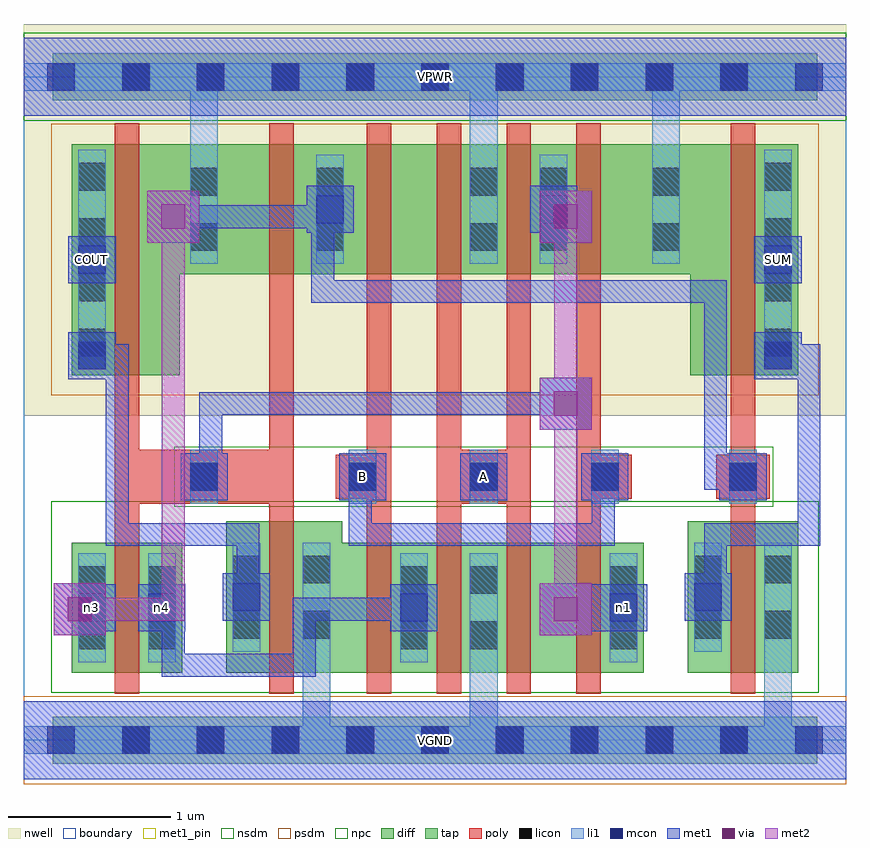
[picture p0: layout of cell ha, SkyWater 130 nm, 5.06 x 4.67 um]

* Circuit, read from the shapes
.subckt ha A B COUT SUM VGND VPWR n1 n3 n4
XM1 n4 n1 n3 VGND sky130_fd_pr__nfet_01v8 w=0.8 l=0.15
XM2 VGND n1 COUT VGND sky130_fd_pr__nfet_01v8 w=0.93 l=0.15
XM3 n4 B VGND VGND sky130_fd_pr__nfet_01v8 w=0.8 l=0.15
XM4 VGND A n4 VGND sky130_fd_pr__nfet_01v8 w=0.8 l=0.15
XM5 n2 A VGND VGND sky130_fd_pr__nfet_01v8 w=0.8 l=0.15
XM6 n1 B n2 VGND sky130_fd_pr__nfet_01v8 w=0.8 l=0.15
XM7 VGND n3 SUM VGND sky130_fd_pr__nfet_01v8 w=0.93 l=0.15
XM8 VPWR n1 COUT VPWR sky130_fd_pr__pfet_01v8 w=1.42 l=0.15
XM9 n3 n1 VPWR VPWR sky130_fd_pr__pfet_01v8 w=0.8 l=0.15
XM10 n5 B n3 VPWR sky130_fd_pr__pfet_01v8 w=0.8 l=0.15
XM11 VPWR A n5 VPWR sky130_fd_pr__pfet_01v8 w=0.8 l=0.15
XM12 n1 A VPWR VPWR sky130_fd_pr__pfet_01v8 w=0.8 l=0.15
XM13 VPWR B n1 VPWR sky130_fd_pr__pfet_01v8 w=0.8 l=0.15
XM14 SUM n3 VPWR VPWR sky130_fd_pr__pfet_01v8 w=1.42 l=0.15
.ends

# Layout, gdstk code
import gdstk
lib = gdstk.Library(unit=1e-6, precision=1e-09)
def R(c, l, rs):  # rectangles x0, y0, x1, y1
    for r in rs: c.add(gdstk.rectangle(r[:2], r[2:], *l))
def A(c, l, x, y, w, h, nx, ny, dx, dy):  # array of equal rectangles
    R(c, l, [(x+i*dx, y+j*dy, x+i*dx+w, y+j*dy+h) for i in range(nx) for j in range(ny)])
nwell = (64, 20)
diff = (65, 20)
tap = (65, 44)
poly = (66, 20)
licon = (66, 44)
li1 = (67, 20)
mcon = (67, 44)
met1_pin = (68, 16)
met1 = (68, 20)
via = (68, 44)
met2 = (69, 20)
nsdm = (93, 44)
psdm = (94, 20)
npc = (95, 20)
boundary = (235, 4)

c_ha = lib.new_cell('ha')
R(c_ha, nwell, [(0,1.995,5.06,4.405)])
R(c_ha, diff, [(0.295,0.415,0.975,1.215), (1.245,0.415,3.815,1.215), (1.245,0.415,1.96,1.345), (4.085,0.415,4.765,1.345), (0.295,2.245,0.96,3.665), (4.1,2.245,4.765,3.665), (0.295,2.865,4.765,3.665)])
R(c_ha, tap, [(0.18,-0.145,4.88,0.145), (0.18,3.935,4.88,4.225)])
A(c_ha, poly, 2.11, 0.285, 0.15, 3.51, 4, 1, 0.43, 0)
R(c_ha, poly, [(0.56,0.285,0.71,3.795), (1.51,0.285,1.66,3.795), (4.35,0.285,4.5,3.795), (0.56,1.455,1.66,1.785), (2.54,1.455,3.12,1.785), (1.92,1.485,2.25,1.755), (3.41,1.485,3.74,1.755), (4.26,1.485,4.59,1.755)])
A(c_ha, licon, 0.605, -0.085, 0.17, 0.17, 9, 2, 0.46, 4.08)
A(c_ha, licon, 2, 1.535, 0.17, 0.17, 3, 1, 0.745, 0)
A(c_ha, licon, 0.335, 2.36, 0.17, 0.17, 1, 4, 0, 0.34)
A(c_ha, licon, 4.555, 2.36, 0.17, 0.17, 1, 4, 0, 0.34)
R(c_ha, licon, [(0.335,0.56,0.505,0.73), (0.765,0.56,0.935,0.73), (2.315,0.56,2.485,0.73), (2.745,0.56,2.915,0.73), (3.605,0.56,3.775,0.73), (1.285,0.625,1.455,0.795), (1.715,0.625,1.885,0.795), (4.125,0.625,4.295,0.795), (4.555,0.625,4.725,0.795), (0.335,0.9,0.505,1.07), (0.765,0.9,0.935,1.07), (2.315,0.9,2.485,1.07), (2.745,0.9,2.915,1.07), (3.605,0.9,3.775,1.07), (1.285,0.965,1.455,1.135), (1.715,0.965,1.885,1.135), (4.125,0.965,4.295,1.135), (4.555,0.965,4.725,1.135), (1.025,1.535,1.195,1.705), (4.34,1.535,4.51,1.705), (1.025,3.01,1.195,3.18), (1.8,3.01,1.97,3.18), (2.745,3.01,2.915,3.18), (3.175,3.01,3.345,3.18), (3.865,3.01,4.035,3.18), (1.025,3.35,1.195,3.52), (1.8,3.35,1.97,3.52), (2.745,3.35,2.915,3.52), (3.175,3.35,3.345,3.52), (3.865,3.35,4.035,3.52)])
A(c_ha, li1, 2, 1.455, 0.17, 0.33, 3, 1, 0.745, 0)
R(c_ha, li1, [(0,-0.085,5.06,0.085), (1.715,-0.085,1.885,1.215), (2.745,-0.085,2.915,1.15), (4.555,-0.085,4.725,1.215), (0.335,0.48,0.505,1.15), (0.765,0.48,0.935,1.15), (2.315,0.48,2.485,1.15), (2.745,0.48,2.915,1.15), (3.605,0.48,3.775,1.15), (1.285,0.545,1.455,1.215), (1.715,0.545,1.885,1.215), (4.125,0.545,4.295,1.215), (4.555,0.545,4.725,1.215), (1.025,1.455,1.195,1.785), (4.34,1.455,4.51,1.785), (0.335,2.28,0.505,3.63), (4.555,2.28,4.725,3.63), (1.025,2.93,1.195,3.6), (1.025,2.93,1.195,4.165), (1.8,2.93,1.97,3.6), (2.745,2.93,2.915,3.6), (2.745,2.93,2.915,4.165), (3.175,2.93,3.345,3.6), (3.865,2.93,4.035,3.6), (3.865,2.93,4.035,4.165), (0,3.995,5.06,4.165)])
A(c_ha, mcon, 0.145, -0.085, 0.17, 0.17, 11, 2, 0.46, 4.08)
A(c_ha, mcon, 2, 1.535, 0.17, 0.17, 3, 1, 0.745, 0)
R(c_ha, mcon, [(0.335,0.73,0.505,0.9), (0.765,0.73,0.935,0.9), (2.315,0.73,2.485,0.9), (3.605,0.73,3.775,0.9), (1.285,0.795,1.455,0.965), (4.125,0.795,4.295,0.965), (1.025,1.535,1.195,1.705), (4.34,1.535,4.51,1.705), (0.335,2.28,0.505,2.45), (4.555,2.28,4.725,2.45), (0.335,2.87,0.505,3.04), (4.555,2.87,4.725,3.04), (1.8,3.18,1.97,3.35), (3.175,3.18,3.345,3.35)])
R(c_ha, met1_pin, [(0,-0.24,5.06,0.24), (1.94,1.475,2.23,1.765), (2.685,1.475,2.975,1.765), (0.275,2.81,0.565,3.1), (4.495,2.81,4.785,3.1), (0,3.84,5.06,4.32)])
A(c_ha, met1, 1.94, 1.475, 0.29, 0.29, 3, 1, 0.745, 0)
R(c_ha, met1, [(0,-0.24,5.06,0.24), (0.85,0.39,0.99,0.875), (0.85,0.39,1.795,0.53), (1.655,0.39,1.795,0.875), (0.185,0.645,0.505,0.965), (3.175,0.645,3.495,0.965), (0.275,0.67,0.565,0.96), (0.705,0.67,0.995,0.96), (2.255,0.67,2.545,0.96), (3.495,0.67,3.545,0.96), (3.545,0.67,3.835,0.96), (0.275,0.735,0.415,0.875), (0.85,0.735,0.99,0.875), (1.225,0.735,1.515,1.025), (1.655,0.735,2.485,0.875), (2.345,0.735,2.485,0.875), (3.265,0.735,3.75,0.875), (3.61,0.735,3.75,0.875), (4.065,0.735,4.355,1.025), (1.31,0.85,1.45,0.99), (1.31,0.85,1.45,1.335), (4.185,0.85,4.325,0.99), (4.185,0.85,4.325,1.335), (0.505,1.195,1.45,1.335), (0.505,1.195,0.645,2.255), (2,1.195,2.14,1.68), (2,1.195,3.635,1.335), (3.495,1.195,3.635,1.68), (4.185,1.195,4.9,1.335), (4.76,1.195,4.9,2.255), (0.965,1.475,1.255,1.765), (4.28,1.475,4.57,1.765), (1.08,1.54,1.22,1.68), (1.08,1.54,1.22,2.14), (2,1.54,2.14,1.68), (3.495,1.54,3.635,1.68), (4.185,1.54,4.325,2.83), (4.185,1.54,4.44,1.68), (4.3,1.54,4.44,1.68), (3.175,1.91,3.495,2.23), (1.08,2,3.405,2.14), (0.505,2.115,0.645,2.435), (4.76,2.115,4.9,2.435), (0.275,2.22,0.565,2.51), (4.495,2.22,4.785,2.51), (0.35,2.295,0.645,2.435), (4.57,2.295,4.9,2.435), (1.77,2.69,1.91,3.29), (1.77,2.69,4.325,2.83), (0.275,2.81,0.565,3.1), (4.495,2.81,4.785,3.1), (0.76,3.06,1.08,3.38), (3.175,3.06,3.495,3.38), (1.74,3.12,2.03,3.41), (3.115,3.12,3.405,3.41), (0.85,3.15,1.91,3.29), (1.77,3.15,1.91,3.29), (3.265,3.15,3.405,3.29), (0,3.84,5.06,4.32)])
R(c_ha, via, [(0.27,0.73,0.42,0.88), (3.26,0.73,3.41,0.88), (3.26,1.995,3.41,2.145), (0.845,3.145,0.995,3.295), (3.26,3.145,3.41,3.295)])
R(c_ha, met2, [(0.185,0.645,0.505,0.965), (3.175,0.645,3.495,0.965), (0.275,0.735,0.99,0.875), (0.85,0.735,0.99,3.29), (3.265,0.735,3.405,3.29), (3.175,1.91,3.495,2.23), (0.76,3.06,1.08,3.38), (3.175,3.06,3.495,3.38)])
R(c_ha, nsdm, [(0.17,0.29,4.89,1.47), (0,3.81,5.06,4.35)])
R(c_ha, psdm, [(0,-0.27,5.06,0.27), (0.17,2.12,4.89,3.79)])
R(c_ha, npc, [(0.925,1.435,4.61,1.805)])
R(c_ha, boundary, [(0,0,5.06,4.08)])
c_ha.add(gdstk.Label('n3', (0.42,0.815), layer=67, texttype=5))
c_ha.add(gdstk.Label('n4', (0.85,0.815), layer=67, texttype=5))
c_ha.add(gdstk.Label('n1', (3.69,0.815), layer=67, texttype=5))
c_ha.add(gdstk.Label('A', (2.83,1.62), layer=68, texttype=5))
c_ha.add(gdstk.Label('B', (2.085,1.62), layer=68, texttype=5))
c_ha.add(gdstk.Label('COUT', (0.42,2.955), layer=68, texttype=5))
c_ha.add(gdstk.Label('SUM', (4.64,2.955), layer=68, texttype=5))
c_ha.add(gdstk.Label('VPWR', (2.53,4.08), layer=68, texttype=5))
c_ha.add(gdstk.Label('VGND', (2.53,0), layer=68, texttype=5))
c_ha.add(gdstk.Label('A', (2.83,1.62), layer=68, texttype=16))
c_ha.add(gdstk.Label('B', (2.085,1.62), layer=68, texttype=16))
c_ha.add(gdstk.Label('COUT', (0.42,2.955), layer=68, texttype=16))
c_ha.add(gdstk.Label('SUM', (4.64,2.955), layer=68, texttype=16))
c_ha.add(gdstk.Label('VPWR', (2.53,4.08), layer=68, texttype=16))
c_ha.add(gdstk.Label('VGND', (2.53,0), layer=68, texttype=16))

lib.write_gds('ha.gds')
